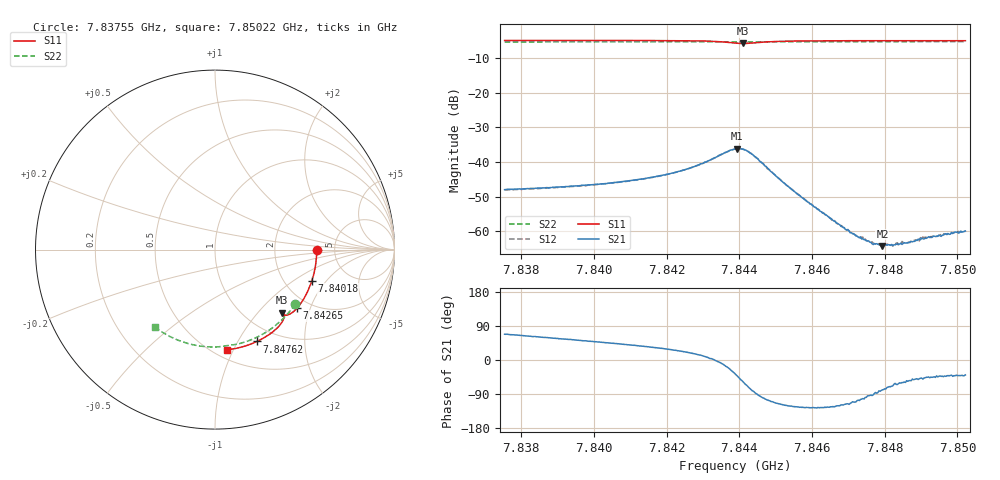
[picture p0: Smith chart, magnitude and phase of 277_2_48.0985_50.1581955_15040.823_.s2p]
#  HZ  S  RI  R  50.00
! Rohde & Schwarz Vector Network Analyzer
! Rohde-Schwarz,ZNB20-2Port,1311601062101988,3.16
! Created: UTC 12/23/2023, 4:02:23 AM
! freq[Hz]  re:S11  im:S11  re:S21  im:S21  re:S12  im:S12  re:S22  im:S22
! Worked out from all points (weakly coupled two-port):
!   401 points, 7.83755 GHz to 7.85022 GHz, reference 50 ohm
!   highest |S21| = -36.11 dB at 7.84395 GHz (marker M1); lowest = -64.2 dB at 7.84794 GHz (marker M2)
!   lowest |S11| = -5.8 dB at 7.8441 GHz (marker M3), VSWR 3.11, Z = 71.2 - j68.1 ohm
!   |S11| at or under -10 dB: nowhere
!   |S22| runs from -5.4 to -5.3 dB; largest |S21 - S12| = 0.00028
!   S11 on the Smith chart (normalised r, x): 7.83755 GHz: 3.61, -0.00; 7.84018 GHz: 2.80, -1.43; 7.84265 GHz: 1.71, -1.63; 7.84762 GHz: 0.80, -1.21; 7.85022 GHz: 0.58, -0.95
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7.837547e9  0.5665 -0.000354  0.00149 0.0037  0.00152 0.00365  0.4471 -0.3022
7.839669e9  0.5493 -0.1406  0.00288 0.0036  0.00281 0.00355  0.3486 -0.4132
7.840176e9  0.5397 -0.1734  0.00329 0.00353  0.00323 0.00353  0.3208 -0.4353
7.840999e9  0.5197 -0.2257  0.00415 0.00345  0.00409 0.00341  0.2727 -0.4673
7.841791e9  0.4942 -0.2747  0.00538 0.00331  0.00532 0.00327  0.2234 -0.4931
7.842647e9  0.4579 -0.3251  0.00775 0.00263  0.00772 0.00265  0.1673 -0.5149
7.843058e9  0.4348 -0.3477  0.00988 0.00161  0.00974 0.00157  0.1393 -0.5229
7.843407e9  0.4099 -0.3621  0.012 -0.000902  0.0122 -0.000745  0.1154 -0.5282
7.843882e9  0.3751 -0.3604  0.0124 -0.00904  0.0124 -0.00891  0.0834 -0.5323
7.843945e9  0.3731 -0.358  0.0116 -0.0105  0.0115 -0.0104  0.0796 -0.533
7.844104e9  0.373 -0.3522  0.00821 -0.0129  0.00823 -0.0128  0.0697 -0.5344
7.844262e9  0.378 -0.3518  0.00417 -0.0133  0.00433 -0.0134  0.0597 -0.5362
7.844452e9  0.3836 -0.3596  0.000395 -0.0118  0.000489 -0.0116  0.0472 -0.5383
7.845212e9  0.3683 -0.4119  -0.00241 -0.00443  -0.00242 -0.00448  -0.006 -0.5427
7.846004e9  0.3283 -0.4534  -0.0014 -0.00194  -0.00142 -0.00194  -0.062 -0.5403
7.847113e9  0.2647 -0.4962  -0.000317 -0.000864  -0.000329 -0.000879  -0.1388 -0.5264
7.84762e9  0.234 -0.5119  -2.87e-05 -0.00069  -3.29e-05 -0.000695  -0.1728 -0.5167
7.847937e9  0.2144 -0.5204  0.00012 -0.000605  0.000144 -0.000623  -0.1938 -0.5093
7.848127e9  0.2025 -0.5254  0.000215 -0.000601  0.000235 -0.000596  -0.2063 -0.5044
7.848633e9  0.1704 -0.5366  0.000381 -0.000571  0.000365 -0.000582  -0.2388 -0.4903
7.849109e9  0.14 -0.5452  0.000544 -0.000578  0.000558 -0.000607  -0.2685 -0.4749
7.850217e9  0.0674 -0.5584  0.000781 -0.000641  0.00076 -0.00065  -0.3335 -0.4325
